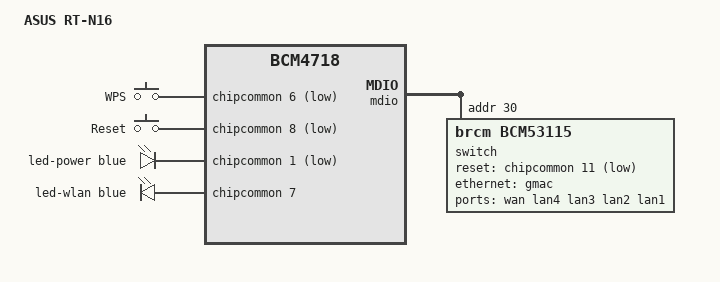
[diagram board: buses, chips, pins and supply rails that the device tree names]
// SPDX-License-Identifier: GPL-2.0-or-later OR MIT

/dts-v1/;

#include <dt-bindings/gpio/gpio.h>
#include <dt-bindings/input/input.h>
#include <dt-bindings/leds/common.h>

#include "bcm4718.dtsi"

/ {
	compatible = "asus,rt-n16", "brcm,bcm4718";
	model = "ASUS RT-N16";

	aliases {
		serial0 = &uart0;
	};

	chosen {
		stdout-path = "serial0:115200n8";
	};

	nvram@1dff8000 {
		compatible = "brcm,nvram";
		reg = <0x1dff8000 0x8000>;

		et0macaddr: et0macaddr {
			#nvmem-cell-cells = <1>;
		};
	};

	keys {
		compatible = "gpio-keys";

		button-wps {
			label = "WPS";
			linux,code = <KEY_WPS_BUTTON>;
			gpios = <&chipcommon 6 GPIO_ACTIVE_LOW>;
		};

		button-restart {
			label = "Reset";
			linux,code = <KEY_RESTART>;
			gpios = <&chipcommon 8 GPIO_ACTIVE_LOW>;
		};
	};

	leds {
		compatible = "gpio-leds";

		led-power {
			color = <LED_COLOR_ID_BLUE>;
			function = LED_FUNCTION_POWER;
			gpios = <&chipcommon 1 GPIO_ACTIVE_LOW>;
			default-state = "on";
		};

		led-wlan {
			color = <LED_COLOR_ID_BLUE>;
			function = LED_FUNCTION_WLAN;
			gpios = <&chipcommon 7 GPIO_ACTIVE_HIGH>;
		};
	};
};

&gmac {
	nvmem-cells = <&et0macaddr 0>;
	nvmem-cell-names = "mac-address";
};

&mdio {
	switch@1e {
		compatible = "brcm,bcm53115";
		reg = <0x1e>;
		reset-gpios = <&chipcommon 11 GPIO_ACTIVE_LOW>;

		ports {
			#address-cells = <1>;
			#size-cells = <0>;

			port@0 {
				reg = <0>;
				label = "wan";
			};

			port@1 {
				reg = <1>;
				label = "lan4";
			};

			port@2 {
				reg = <2>;
				label = "lan3";
			};

			port@3 {
				reg = <3>;
				label = "lan2";
			};

			port@4 {
				reg = <4>;
				label = "lan1";
			};

			port@8 {
				reg = <8>;
				ethernet = <&gmac>;
				phy-mode = "rgmii-id";

				fixed-link {
					speed = <1000>;
					full-duplex;
				};
			};
		};
	};
};
